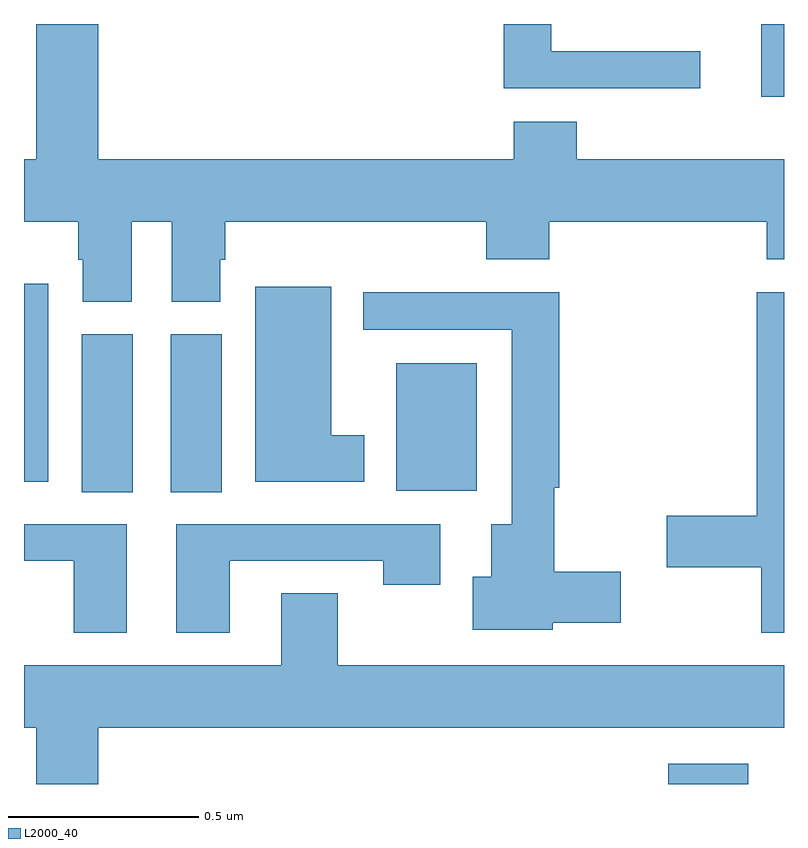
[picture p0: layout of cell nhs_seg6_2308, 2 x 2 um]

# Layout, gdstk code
import gdstk
lib = gdstk.Library(unit=1e-6, precision=1e-09)
def R(c, l, rs):  # rectangles x0, y0, x1, y1
    for r in rs: c.add(gdstk.rectangle(r[:2], r[2:], *l))
def P(c, l, *ps):  # polygons
    for p in ps: c.add(gdstk.Polygon(p, *l))
L2000_40 = (2000, 40)

nhs_seg6_2308 = lib.new_cell('nhs_seg6_2308')
R(nhs_seg6_2308, L2000_40, [(142.696,968.5,142.906,968.553), (141.152,969.268,141.286,969.684), (141.386,969.268,141.52,969.684), (141.98,969.272,142.192,969.607), (141,969.296,141.064,969.817), (142.94,970.308,143,970.5)])
P(nhs_seg6_2308, L2000_40, [(142.78,970.428),(142.387,970.428),(142.387,970.5),(142.262,970.5),(142.262,970.331),(142.78,970.331)],
  [(142.289,970.243),(142.289,970.144),(141.196,970.144),(141.196,970.5),(141.032,970.5),(141.032,970.144),(141,970.144),(141,969.98),(141.143,969.98),(141.143,969.879),(141.155,969.879),(141.155,969.769),(141.283,969.769),(141.283,969.98),(141.389,969.98),(141.389,969.769),(141.517,969.769),(141.517,969.879),(141.53,969.879),(141.53,969.98),(142.217,969.98),(142.217,969.881),(142.382,969.881),(142.382,969.98),(142.955,969.98),(142.955,969.881),(143,969.881),(143,970.144),(142.454,970.144),(142.454,970.243)],
  [(141.895,969.418),(141.808,969.418),(141.808,969.808),(141.608,969.808),(141.608,969.296),(141.895,969.296)],
  [(143,969.794),(142.928,969.794),(142.928,969.206),(142.692,969.206),(142.692,969.071),(142.94,969.071),(142.94,968.898),(143,968.898)],
  [(142.392,968.924),(142.57,968.924),(142.57,969.059),(142.396,969.059),(142.396,969.28),(142.409,969.28),(142.409,969.794),(141.893,969.794),(141.893,969.696),(142.283,969.696),(142.283,969.184),(142.229,969.184),(142.229,969.046),(142.181,969.046),(142.181,968.906),(142.392,968.906)],
  [(141.271,969.183),(141,969.183),(141,969.087),(141.131,969.087),(141.131,968.898),(141.271,968.898)],
  [(141.541,969.087),(141.946,969.087),(141.946,969.024),(142.096,969.024),(142.096,969.183),(141.401,969.183),(141.401,968.898),(141.541,968.898)],
  [(143,968.812),(141.825,968.812),(141.825,969.002),(141.677,969.002),(141.677,968.812),(141,968.812),(141,968.648),(141.032,968.648),(141.032,968.5),(141.196,968.5),(141.196,968.648),(143,968.648)])

lib.write_gds('nhs_seg6_2308.gds')
